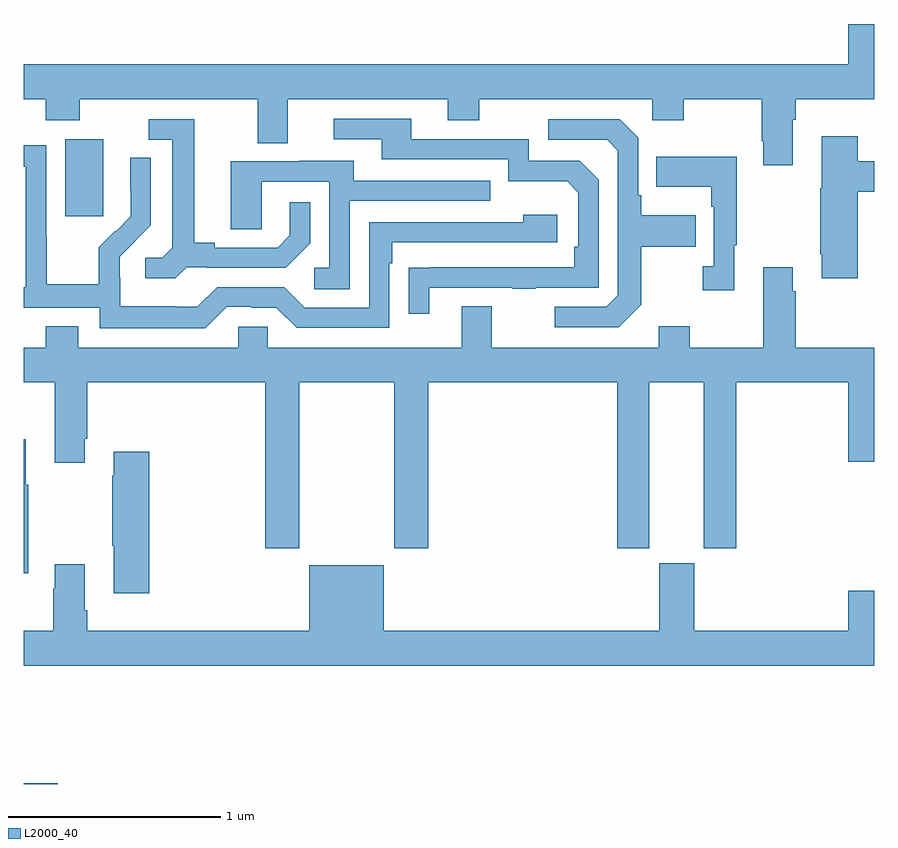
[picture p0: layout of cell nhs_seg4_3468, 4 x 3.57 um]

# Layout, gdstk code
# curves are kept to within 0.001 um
import gdstk
lib = gdstk.Library(unit=1e-6, precision=1e-09)
def R(c, l, rs):  # rectangles x0, y0, x1, y1
    for r in rs: c.add(gdstk.rectangle(r[:2], r[2:], *l))
def P(c, l, *ps):  # polygons
    for p in ps: c.add(gdstk.Polygon(p, *l))
L2000_40 = (2000, 40)

nhs_seg4_3468 = lib.new_cell('nhs_seg4_3468')
R(nhs_seg4_3468, L2000_40, [(293,826.9,293.161,826.904), (293.195,829.569,293.374,829.93)])
P(nhs_seg4_3468, L2000_40, [(296.617,830.024),(296.63,830.024),(296.63,830.12),(297,830.12),(297,830.473),(296.876,830.473),(296.876,830.284),(293,830.284),(293,830.12),(293.105,830.12),(293.105,830.021),(293.265,830.021),(293.265,830.12),(294.101,830.12),(294.101,829.912),(294.241,829.912),(294.241,830.12),(294.995,830.12),(294.995,830.021),(295.143,830.021),(295.143,830.12),(295.956,830.12),(295.956,830.021),(296.103,830.021),(296.103,830.12),(296.47,830.12),(296.47,829.921),(296.477,829.921),(296.477,829.809),(296.617,829.809)],
  [(294.907,829.233),(295.297,829.233),(295.297,829.228),(295.409,829.228),(295.409,829.233),(295.704,829.233),(295.704,829.74),(295.614,829.83),(295.374,829.83),(295.374,829.932),(294.823,829.932),(294.823,830.028),(294.459,830.028),(294.459,829.932),(294.683,829.932),(294.683,829.836),(295.278,829.836),(295.278,829.733),(295.555,829.733),(295.608,829.68),(295.608,829.426),(295.588,829.426),(295.588,829.329),(294.811,829.328),(294.811,829.11),(294.907,829.11)],
  [(293.766,829.329),(293.86,829.329),(293.86,829.326),(294.232,829.326),(294.348,829.442),(294.348,829.636),(294.251,829.636),(294.251,829.479),(294.194,829.422),(293.899,829.422),(293.899,829.445),(293.803,829.445),(293.803,830.025),(293.589,830.025),(293.589,829.929),(293.699,829.929),(293.699,829.421),(293.652,829.374),(293.571,829.374),(293.571,829.277),(293.714,829.277)],
  [(295.903,829.153),(295.903,829.426),(296.159,829.426),(296.159,829.573),(295.903,829.573),(295.903,829.669),(295.89,829.669),(295.89,829.938),(295.803,830.025),(295.467,830.025),(295.467,829.929),(295.743,829.929),(295.794,829.878),(295.794,829.197),(295.74,829.143),(295.497,829.143),(295.497,829.047),(295.797,829.047)],
  [(296.921,829.685),(297,829.685),(297,829.827),(296.921,829.827),(296.921,829.945),(296.753,829.945),(296.753,829.701),(296.746,829.701),(296.746,829.39),(296.753,829.39),(296.753,829.278),(296.921,829.278)],
  [(293.955,829.143),(294.071,829.143),(294.071,829.14),(294.189,829.14),(294.285,829.044),(294.72,829.044),(294.72,829.349),(294.733,829.349),(294.733,829.446),(295.51,829.446),(295.51,829.576),(295.349,829.576),(295.349,829.542),(294.624,829.542),(294.624,829.14),(294.321,829.14),(294.225,829.236),(293.91,829.236),(293.817,829.143),(293.717,829.143),(293.717,829.147),(293.454,829.147),(293.454,829.281),(293.452,829.281),(293.452,829.378),(293.598,829.526),(293.598,829.844),(293.502,829.844),(293.502,829.69),(293.504,829.69),(293.504,829.568),(293.433,829.497),(293.43,829.5),(293.353,829.423),(293.353,829.249),(293.109,829.249),(293.109,829.472),(293.106,829.472),(293.106,829.902),(293,829.902),(293,829.803),(293.01,829.803),(293.01,829.236),(293,829.236),(293,829.14),(293.358,829.14),(293.358,829.043),(293.855,829.043)],
  [(296.341,829.433),(296.353,829.433),(296.353,829.849),(295.975,829.849),(295.975,829.709),(296.232,829.709),(296.232,829.613),(296.244,829.613),(296.244,829.334),(296.193,829.334),(296.193,829.221),(296.341,829.221)],
  [(294.534,829.641),(295.193,829.641),(295.193,829.737),(294.553,829.737),(294.553,829.831),(294.299,829.831),(294.299,829.827),(293.975,829.827),(293.975,829.507),(294.12,829.507),(294.12,829.731),(294.438,829.731),(294.438,829.326),(294.366,829.326),(294.366,829.225),(294.534,829.225)],
  [(294.297,828.788),(294.742,828.788),(294.742,828.009),(294.902,828.009),(294.902,828.788),(295.79,828.788),(295.79,828.009),(295.942,828.009),(295.942,828.788),(296.198,828.788),(296.198,828.009),(296.351,828.009),(296.351,828.788),(296.876,828.788),(296.876,828.414),(297,828.414),(297,828.952),(296.63,828.952),(296.63,829.217),(296.617,829.217),(296.617,829.33),(296.477,829.33),(296.477,828.952),(296.133,828.952),(296.133,829.051),(295.985,829.051),(295.985,828.952),(295.201,828.952),(295.201,829.147),(295.061,829.147),(295.061,828.952),(294.147,828.952),(294.147,829.05),(294.009,829.05),(294.009,828.952),(293.257,828.952),(293.257,829.051),(293.105,829.051),(293.105,828.952),(293,828.952),(293,828.788),(293.147,828.788),(293.147,828.411),(293.287,828.411),(293.287,828.523),(293.3,828.523),(293.3,828.788),(294.137,828.788),(294.137,828.009),(294.297,828.009)],
  [(293.023,828.307),(293.011,828.307),(293.011,828.52),(293,828.52),(293,827.891),(293.023,827.891)],
  [(293.591,828.463),(293.423,828.463),(293.423,828.35),(293.416,828.35),(293.416,828.019),(293.423,828.019),(293.423,827.796),(293.591,827.796)],
  [(297,827.809),(296.876,827.809),(296.876,827.62),(296.152,827.62),(296.152,827.937),(295.988,827.937),(295.988,827.62),(294.694,827.62),(294.694,827.929),(294.344,827.929),(294.344,827.62),(293.3,827.62),(293.3,827.716),(293.287,827.716),(293.287,827.932),(293.147,827.932),(293.147,827.819),(293.14,827.819),(293.14,827.62),(293,827.62),(293,827.456),(297,827.456)])

lib.write_gds('nhs_seg4_3468.gds')
